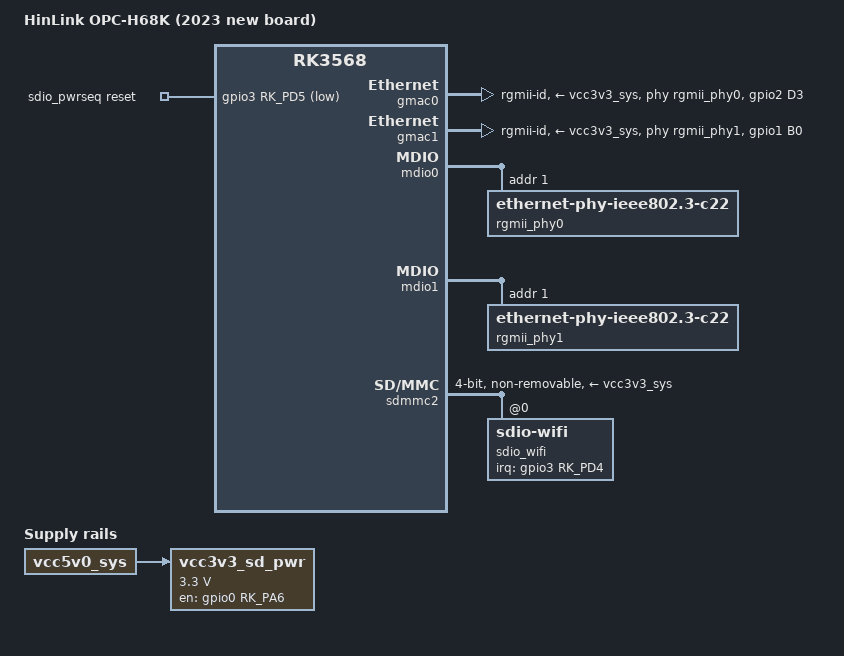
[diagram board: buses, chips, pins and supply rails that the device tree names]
// SPDX-License-Identifier: (GPL-2.0+ OR MIT)
/*
 * HinLink OPC-H68K (2023 new board)
 *
 * HinLink 适配for immortalwrt —— 每机型独立 DTS，不做自适应。
 *
 * 硬件事实来源：厂商 2024 QWRT R24.07.07 固件 dtb（已解包反编译逐项核对）
 * 蓝本：OpenWrt 主线 rk3568-hinlink-h68k.dts
 *
 * 2023末改用 H69K 底板出货；带 AIC8800 SDIO WiFi
 *   ★ 全 H68K 谱系里**唯一**把 WAN 接在 gmac1 上的一代：
 *     网口：LAN = eth0 eth2 eth3 / **WAN = eth1**
 *   （其余老机器 a / c / d 系全部 LAN=eth1 … / WAN=eth0）
 */

/dts-v1/;

#include "rk3568-hinlink-opc.dtsi"

/ {
	model = "HinLink OPC-H68K (2023 new board)";
	compatible = "hinlink,opc-h68k-new", "hinlink,h68k", "linkstar,h68k", "rockchip,rk3568";

	aliases {
		ethernet0 = &gmac0;
		ethernet1 = &gmac1;
	};
};
&gmac0 {
	assigned-clocks = <&cru SCLK_GMAC0_RX_TX>, <&cru SCLK_GMAC0>;
	assigned-clock-parents = <&cru SCLK_GMAC0_RGMII_SPEED>;
	assigned-clock-rates = <0>, <125000000>;
	clock_in_out = "output";
	phy-mode = "rgmii-id";
	phy-supply = <&vcc3v3_sys>;
	pinctrl-names = "default";
	pinctrl-0 = <&gmac0_miim
		     &gmac0_tx_bus2
		     &gmac0_rx_bus2
		     &gmac0_rgmii_clk
		     &gmac0_rgmii_bus
		     &gmac0_rstn>;
	snps,reset-gpios = <&gpio2 RK_PD3 GPIO_ACTIVE_LOW>;
	snps,reset-active-low;
	snps,reset-delays-us = <0 20000 100000>;
	tx_delay = <0x3c>;
	rx_delay = <0x2f>;
	phy-handle = <&rgmii_phy0>;
	status = "okay";
};

&gmac1 {
	assigned-clocks = <&cru SCLK_GMAC1_RX_TX>, <&cru SCLK_GMAC1>;
	assigned-clock-parents = <&cru SCLK_GMAC1_RGMII_SPEED>;
	assigned-clock-rates = <0>, <125000000>;
	clock_in_out = "output";
	phy-mode = "rgmii-id";
	phy-supply = <&vcc3v3_sys>;
	pinctrl-names = "default";
	pinctrl-0 = <&gmac1m1_miim
		     &gmac1m1_tx_bus2
		     &gmac1m1_rx_bus2
		     &gmac1m1_rgmii_clk
		     &gmac1m1_rgmii_bus
		     &gmac1_rstn>;
	snps,reset-gpios = <&gpio1 RK_PB0 GPIO_ACTIVE_LOW>;
	snps,reset-active-low;
	snps,reset-delays-us = <0 20000 100000>;
	tx_delay = <0x4f>;
	rx_delay = <0x26>;
	phy-handle = <&rgmii_phy1>;
	status = "okay";
};

&mdio0 {
	rgmii_phy0: ethernet-phy@1 {
		compatible = "ethernet-phy-ieee802.3-c22";
		reg = <0x1>;
	};
};

&mdio1 {
	rgmii_phy1: ethernet-phy@1 {
		compatible = "ethernet-phy-ieee802.3-c22";
		reg = <0x1>;
	};
};

&{/} {
	sdio_pwrseq: sdio-pwrseq {
		compatible = "mmc-pwrseq-simple";
		clocks = <&rk809 1>;
		clock-names = "ext_clock";
		pinctrl-names = "default";
		pinctrl-0 = <&wifi_enable>;
		post-power-on-delay-ms = <200>;
		power-off-delay-us = <5000000>;
		reset-gpios = <&gpio3 RK_PD5 GPIO_ACTIVE_LOW>;
	};
};

&{/} {
	vcc3v3_sd_pwr: vcc3v3-sd-pwr {
		compatible = "regulator-fixed";
		enable-active-high;
		gpio = <&gpio0 RK_PA6 GPIO_ACTIVE_HIGH>;
		pinctrl-names = "default";
		pinctrl-0 = <&vcc3v3_sd_pwr_en>;
		regulator-always-on;
		regulator-boot-on;
		regulator-min-microvolt = <3300000>;
		regulator-max-microvolt = <3300000>;
		regulator-name = "vcc3v3_sd_pwr";
		vin-supply = <&vcc5v0_sys>;
	};
};

&sdmmc2 {
	bus-width = <4>;
	cap-sd-highspeed;
	cap-sdio-irq;
	disable-wp;
	keep-power-in-suspend;
	max-frequency = <15000000>;
	mmc-pwrseq = <&sdio_pwrseq>;
	non-removable;
	pinctrl-names = "default";
	pinctrl-0 = <&sdmmc2m0_bus4 &sdmmc2m0_cmd &sdmmc2m0_clk>;
	sd-uhs-sdr25;
	sd-uhs-sdr50;
	sd-uhs-sdr104;
	status = "okay";
	vmmc-supply = <&vcc3v3_sys>;
	vqmmc-supply = <&vcc3v3_sd_pwr>;

	sdio_wifi: sdio-wifi@0 {
		interrupt-parent = <&gpio3>;
		interrupts = <RK_PD4 IRQ_TYPE_LEVEL_HIGH>;
		interrupt-names = "host-wake";
		reg = <0>;
	};
};

/*
 * ★ 原&rk809 { ext_32k_clk_out { rockchip,grf = <&rk809_grf 0>; } } 已删除
 *
 *   原因：Linux 6.18 的 rk3568 SoC dtsi 里**没有 rk809 节点，也没有 rk809_grf
 *   标签**（6.18 已把 SoC 拆分到 rk356x-base.dtsi，RK809 PMIC 不在其中）。
 *   保留这段会因 phandle 找不到而**编译失败**。
 *
 *   佐证：6.18 内核自带的 rk3568-hinlink-h68k.dts（官方蓝本）也没有这段。
 *   而本仓库的 rk3568-hinlink-opc.dtsi 与 6.18 内核自带的同名文件
 *   **sha256 完全一致**，说明这份 dtsi 已是上游官方版本 ——
 *   上游没引用 rk809_grf，说明它确实不需要。
 *
 *   这个 32.768kHz 时钟输出是给 RTC 用的；RK3568 板载 RTC 走
 *   hym8563（I2C），不依赖 RK809。若你的机器确实需要它，
 *   应改用 `rk809` 相关的正确写法或另找时钟源。
 */


&pinctrl {
	sdmmc {
		vcc3v3_sd_pwr_en: vcc3v3-sd-pwr-en {
			rockchip,pins = <0 RK_PA6 RK_FUNC_GPIO &pcfg_pull_none>;
		};

		/*
		 * ★ sdmmc2m0_bus4 / _cmd / _clk 的定义**已删除**：
		 *   内核 rk3568-pinctrl.dtsi 已提供同名标签，内容与我们逐项相同
		 *   （如 <3 RK_PC6 3 &pcfg_pull_up_drv_level_2>），重定义会报
		 *   duplicate_label。&sdmmc2 的 pinctrl-0 照常引用内核定义。
		 */

	};

	wifi {
		wifi_enable: wifi-enable {
			rockchip,pins = <3 RK_PD5 RK_FUNC_GPIO &pcfg_pull_none>;
		};
	};
};

&pinctrl {
	gmac {
		gmac0_rstn: gmac0-rstn {
			rockchip,pins = <2 RK_PD3 RK_FUNC_GPIO &pcfg_pull_none>;
		};

		gmac1_rstn: gmac1-rstn {
			rockchip,pins = <1 RK_PB0 RK_FUNC_GPIO &pcfg_pull_none>;
		};
	};
};
